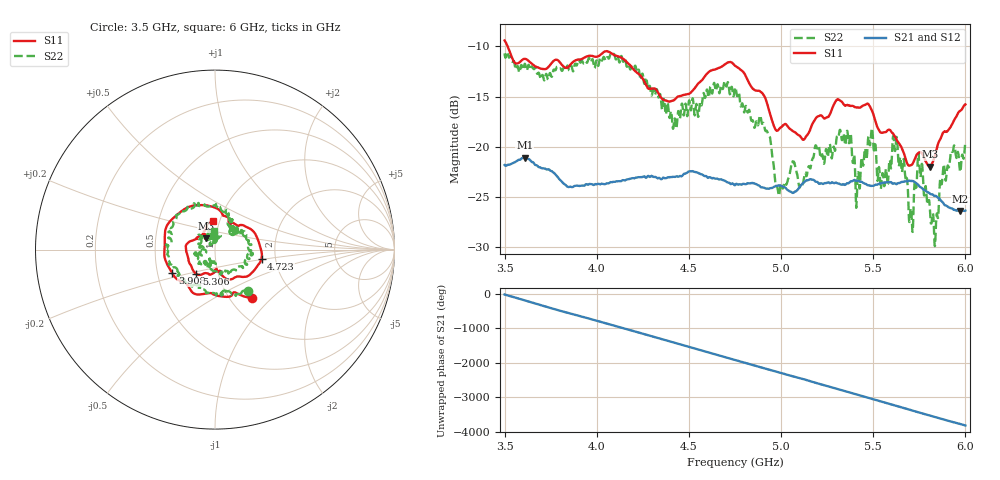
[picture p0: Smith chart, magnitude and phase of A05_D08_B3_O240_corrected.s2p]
! Created with skrf 1.9.0 (http://scikit-rf.org).
# Hz S RI R 50.0
!freq ReS11 ImS11 ReS21 ImS21 ReS12 ImS12 ReS22 ImS22
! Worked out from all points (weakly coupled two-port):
!   1601 points, 3.5 GHz to 6 GHz, reference 50 ohm
!   highest |S21| = -21.09 dB at 3.609 GHz (marker M1); lowest = -26.4 dB at 5.972 GHz (marker M2)
!   lowest |S11| = -22.0 dB at 5.806 GHz (marker M3), VSWR 1.17, Z = 45.1 + j5.79 ohm
!   |S11| at or under -10 dB: 3.516 GHz to end of sweep
!   |S22| runs from -29.9 to -10.5 dB; largest |S21 - S12| = 0.0011
!   S11 on the Smith chart (normalised r, x): 3.5 GHz: 1.26, -0.76; 3.908 GHz: 0.60, -0.17; 4.723 GHz: 1.69, -0.18; 5.306 GHz: 0.78, -0.22; 6 GHz: 0.93, +0.31
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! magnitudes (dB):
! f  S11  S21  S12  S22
! 3.5 GHz  -9.4  -21.8  -21.8  -10.7
! 3.609 GHz  -11.2  -21.1  -21.1  -11.7
! 3.908 GHz  -11.3  -23.9  -23.9  -11.5
! 3.917 GHz  -11.3  -23.9  -23.9  -11.5
! 4.334 GHz  -14.7  -23.1  -23.1  -15.1
! 4.423 GHz  -15.3  -23.0  -23.0  -17.2
! 4.723 GHz  -11.6  -23.7  -23.6  -14.8
! 4.75 GHz  -11.9  -23.8  -23.8  -14.1
! 4.931 GHz  -16.1  -24.2  -24.1  -18.9
! 4.981 GHz  -18.4  -23.9  -23.9  -24.1
! 5.167 GHz  -17.8  -23.3  -23.3  -21.4
! 5.306 GHz  -15.3  -23.6  -23.6  -18.9
! 5.369 GHz  -15.9  -23.6  -23.5  -19.6
! 5.416 GHz  -16.1  -23.4  -23.5  -23.0
! 5.484 GHz  -16.1  -23.9  -23.9  -19.6
! 5.584 GHz  -18.3  -23.5  -23.5  -22.2
! 5.62 GHz  -19.1  -23.7  -23.7  -20.2
! 5.705 GHz  -21.8  -23.4  -23.4  -26.1
! 5.753 GHz  -20.6  -24.0  -24.0  -22.5
! 5.806 GHz  -22.0  -24.6  -24.6  -25.9
! 5.972 GHz  -16.4  -26.4  -26.4  -22.5
! 6 GHz  -15.8  -26.4  -26.4  -19.5
